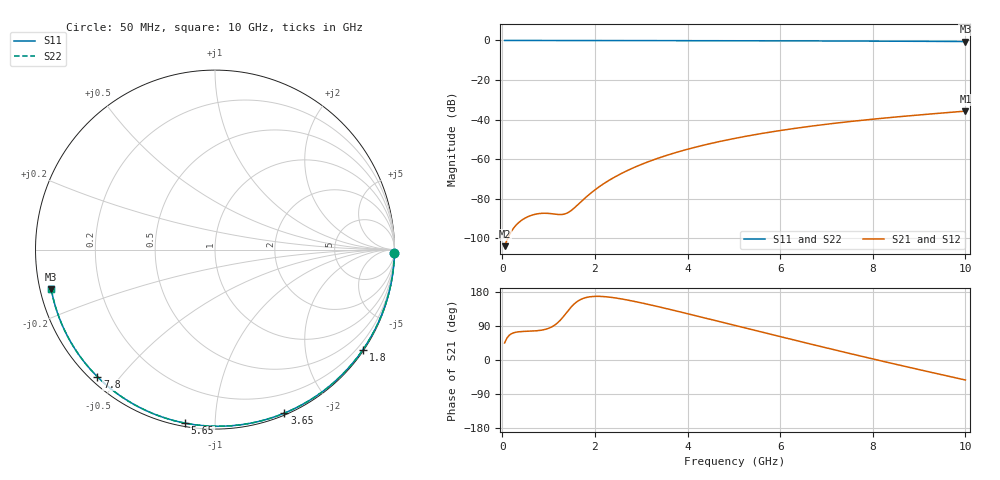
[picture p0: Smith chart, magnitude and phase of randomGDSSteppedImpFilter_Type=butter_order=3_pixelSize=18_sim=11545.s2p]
! freq	dB(S11)	phase(S11)	dB(S12)	phase(S12)
!  dB(S21)	phase(S21)	dB(S22)	phase(S22)
!S-par simulation data
#  GHz  S  DB  R 50
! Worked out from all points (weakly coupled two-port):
!   200 points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, 50 MHz to 10 GHz, reference 50 ohm
!   highest |S21| = -35.71 dB at 10 GHz (marker M1); lowest = -104.0 dB at 50 MHz (marker M2)
!   lowest |S11| = -0.5 dB at 10 GHz (marker M3), VSWR 31.63, Z = 1.6 - j5.92 ohm
!   |S11| at or under -10 dB: nowhere
!   |S22| runs from -0.5 to 0.0 dB; largest |S21 - S12| = 0
!   S11 on the Smith chart (normalised r, x): 50 MHz: open; 1.8 GHz: 0.03, -3.27; 3.65 GHz: 0.02, -1.51; 5.65 GHz: 0.02, -0.84; 7.8 GHz: 0.02, -0.44; 10 GHz: 0.03, -0.12
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0.05  -0.00 -1.0  -103.95 45.0  -103.95 45.0  -0.00 -1.0
0.45  -0.01 -8.6  -90.36 75.3  -90.36 75.3  -0.01 -8.7
0.85  -0.02 -16.3  -87.36 78.8  -87.36 78.8  -0.02 -16.3
1.3  -0.03 -24.7  -87.92 111.6  -87.92 111.6  -0.03 -24.7
1.75  -0.04 -33.1  -80.42 162.6  -80.42 162.6  -0.04 -33.1
1.8  -0.04 -34.0  -79.37 164.6  -79.37 164.6  -0.04 -34.0
1.95  -0.05 -36.8  -76.43 167.6  -76.43 167.6  -0.05 -36.8
2.15  -0.05 -40.4  -73.00 167.7  -73.00 167.7  -0.05 -40.4
2.5  -0.06 -46.8  -68.10 162.7  -68.10 162.7  -0.06 -46.8
2.9  -0.07 -53.9  -63.65 153.5  -63.65 153.5  -0.07 -53.9
3.4  -0.08 -62.7  -59.21 139.8  -59.21 139.8  -0.08 -62.7
3.65  -0.09 -67.0  -57.33 132.6  -57.33 132.6  -0.09 -67.0
4.3  -0.11 -78.0  -53.18 113.2  -53.18 113.2  -0.11 -78.0
5.05  -0.14 -90.3  -49.35 90.4  -49.35 90.4  -0.14 -90.3
5.65  -0.17 -99.8  -46.83 72.3  -46.83 72.3  -0.17 -99.9
6.15  -0.19 -107.6  -45.00 57.2  -45.00 57.2  -0.19 -107.7
6.7  -0.23 -116.1  -43.22 40.8  -43.22 40.8  -0.23 -116.1
7.25  -0.26 -124.4  -41.65 24.6  -41.65 24.6  -0.27 -124.5
7.8  -0.31 -132.7  -40.25 8.6  -40.25 8.6  -0.31 -132.8
8.35  -0.36 -141.0  -39.00 -7.2  -39.00 -7.2  -0.36 -141.1
9.2  -0.45 -154.0  -37.25 -30.9  -37.25 -30.9  -0.45 -154.0
10  -0.55 -166.5  -35.71 -52.8  -35.71 -52.8  -0.55 -166.5
